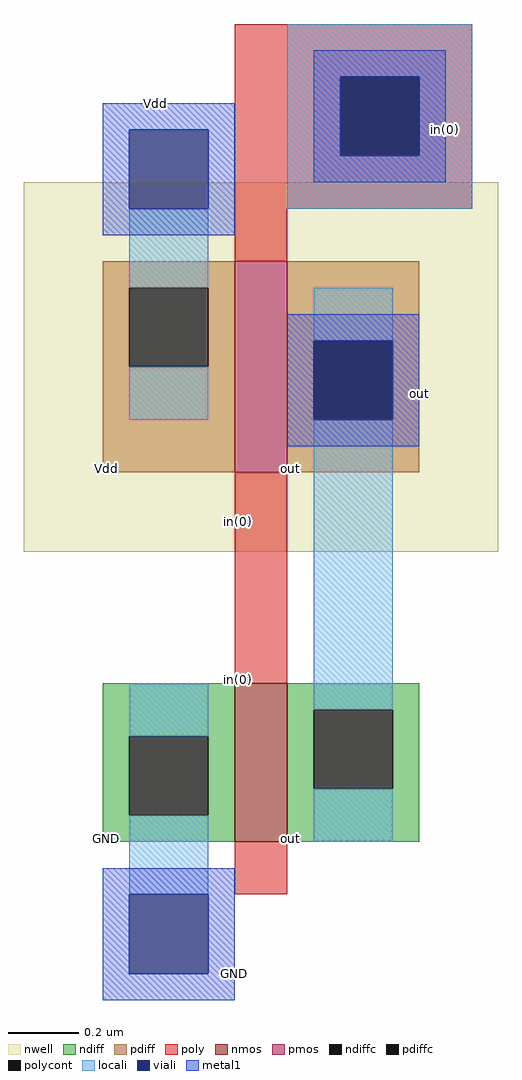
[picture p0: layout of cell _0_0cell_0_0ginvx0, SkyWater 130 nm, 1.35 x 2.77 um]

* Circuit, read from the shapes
.subckt _0_0cell_0_0ginvx0 GND Vdd out in(0)
XM1 out in(0) GND VSUBS sky130_fd_pr__nfet_01v8 w=0.45 l=0.15
XM2 out in(0) Vdd n1 sky130_fd_pr__pfet_01v8 w=0.6 l=0.15
.ends

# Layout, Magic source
magic
tech sky130A
magscale 1 2
<< nwell >>
rect 75 255 345 465
<< nmos >>
rect 195 90 225 180
<< pmos >>
rect 195 300 225 420
<< ndiff >>
rect 120 150 195 180
rect 120 105 135 150
rect 180 105 195 150
rect 120 90 195 105
rect 225 165 300 180
rect 225 120 240 165
rect 285 120 300 165
rect 225 90 300 120
<< pdiff >>
rect 120 405 195 420
rect 120 360 135 405
rect 180 360 195 405
rect 120 300 195 360
rect 225 375 300 420
rect 225 330 240 375
rect 285 330 300 375
rect 225 300 300 330
<< ndiffc >>
rect 135 105 180 150
rect 240 120 285 165
<< pdiffc >>
rect 135 360 180 405
rect 240 330 285 375
<< poly >>
rect 195 525 330 555
rect 195 480 255 525
rect 300 480 330 525
rect 195 450 330 480
rect 195 420 225 450
rect 195 180 225 300
rect 195 60 225 90
<< polycont >>
rect 255 480 300 525
<< locali >>
rect 225 525 330 555
rect 225 480 255 525
rect 300 480 330 525
rect 225 450 330 480
rect 135 405 180 450
rect 135 330 180 360
rect 240 375 285 405
rect 135 150 180 180
rect 135 60 180 105
rect 240 165 285 330
rect 240 90 285 120
<< viali >>
rect 135 450 180 495
rect 255 480 300 525
rect 240 330 285 375
rect 135 15 180 60
<< metal1 >>
rect 240 525 315 540
rect 120 495 195 510
rect 120 450 135 495
rect 180 450 195 495
rect 240 480 255 525
rect 300 480 315 525
rect 240 465 315 480
rect 120 435 195 450
rect 225 375 300 390
rect 225 330 240 375
rect 285 330 300 375
rect 225 315 300 330
rect 120 60 195 75
rect 120 15 135 60
rect 180 15 195 60
rect 120 0 195 15
<< labels >>
rlabel ndiff 227 92 227 92 3 out
rlabel poly 197 182 197 182 3 in(0)
rlabel pdiff 227 302 227 302 3 out
rlabel poly 197 272 197 272 3 in(0)
rlabel pdiff 122 302 122 302 3 Vdd
rlabel ndiff 122 92 122 92 1 GND
flabel metal1 195 15 195 15 3 FreeSerif 120 0 0 0 GND
port 1 e
flabel metal1 150 510 150 510 1 FreeSerif 120 0 0 0 Vdd
port 2 n
flabel metal1 300 345 300 345 3 FreeSerif 120 0 0 0 out
port 3 e
flabel metal1 315 495 315 495 3 FreeSerif 120 0 0 0 in(0)
port 4 e
<< end >>
